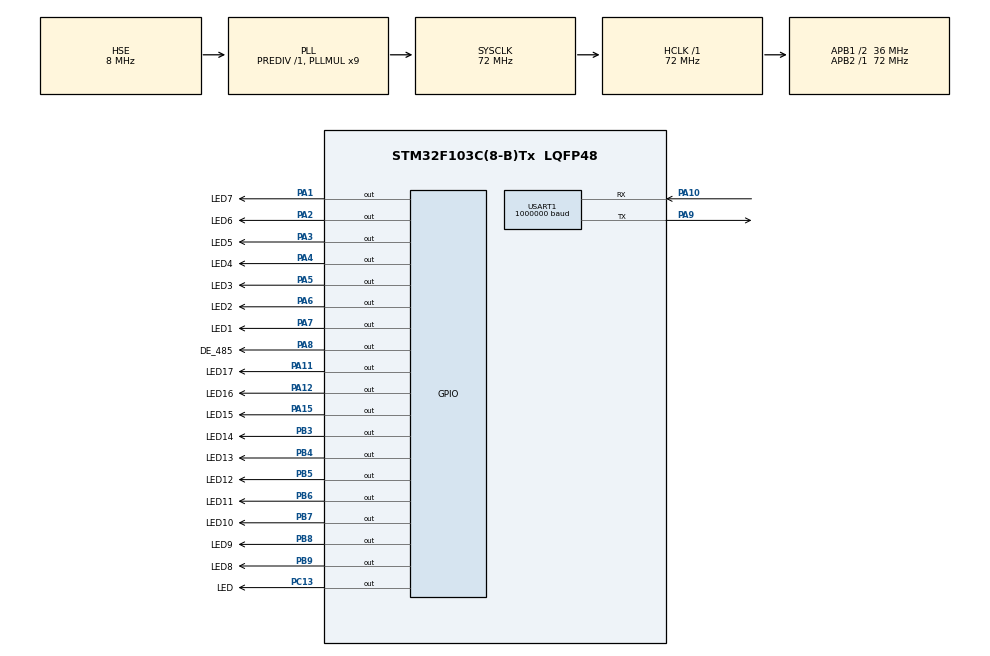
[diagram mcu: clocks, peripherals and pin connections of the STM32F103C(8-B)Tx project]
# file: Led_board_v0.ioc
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Dma.Request0=USART1_RX
Dma.Request1=USART1_TX
Dma.USART1_RX.0.Direction=DMA_PERIPH_TO_MEMORY
Dma.USART1_RX.0.Instance=DMA1_Channel5
Dma.USART1_RX.0.MemDataAlignment=DMA_MDATAALIGN_BYTE
Dma.USART1_RX.0.MemInc=DMA_MINC_ENABLE
Dma.USART1_RX.0.Mode=DMA_NORMAL
Dma.USART1_RX.0.PeriphDataAlignment=DMA_PDATAALIGN_BYTE
Dma.USART1_RX.0.PeriphInc=DMA_PINC_DISABLE
Dma.USART1_RX.0.Priority=DMA_PRIORITY_LOW
Dma.USART1_TX.1.Direction=DMA_MEMORY_TO_PERIPH
Dma.USART1_TX.1.Instance=DMA1_Channel4
Dma.USART1_TX.1.MemDataAlignment=DMA_MDATAALIGN_BYTE
Dma.USART1_TX.1.MemInc=DMA_MINC_ENABLE
Dma.USART1_TX.1.Mode=DMA_NORMAL
Dma.USART1_TX.1.PeriphDataAlignment=DMA_PDATAALIGN_BYTE
Dma.USART1_TX.1.PeriphInc=DMA_PINC_DISABLE
Dma.USART1_TX.1.Priority=DMA_PRIORITY_LOW
Mcu.Family=STM32F1
Mcu.Name=STM32F103C(8-B)Tx
Mcu.Package=LQFP48
NVIC.DMA1_Channel4_IRQn=true\:0\:0\:false\:false\:true\:false\:true\:true
NVIC.DMA1_Channel5_IRQn=true\:0\:0\:false\:false\:true\:false\:true\:true
NVIC.PriorityGroup=NVIC_PRIORITYGROUP_4
NVIC.TIM1_UP_IRQn=true\:1\:0\:true\:false\:true\:true\:true\:true
NVIC.TIM2_IRQn=true\:1\:0\:true\:false\:true\:true\:true\:true
NVIC.USART1_IRQn=true\:0\:0\:false\:false\:true\:true\:true\:true
PA1.GPIO_Label=LED7
PA1.Signal=GPIO_Output
PA10.Mode=Asynchronous
PA10.Signal=USART1_RX
PA11.GPIO_Label=LED17
PA11.Signal=GPIO_Output
PA12.GPIO_Label=LED16
PA12.Signal=GPIO_Output
PA13.Mode=Serial_Wire
PA13.Signal=SYS_JTMS-SWDIO
PA14.Mode=Serial_Wire
PA14.Signal=SYS_JTCK-SWCLK
PA15.GPIO_Label=LED15
PA15.Signal=GPIO_Output
PA2.GPIO_Label=LED6
PA2.Signal=GPIO_Output
PA3.GPIO_Label=LED5
PA3.Signal=GPIO_Output
PA4.GPIO_Label=LED4
PA4.Signal=GPIO_Output
PA5.GPIO_Label=LED3
PA5.Signal=GPIO_Output
PA6.GPIO_Label=LED2
PA6.Signal=GPIO_Output
PA7.GPIO_Label=LED1
PA7.Signal=GPIO_Output
PA8.GPIO_Label=DE_485
PA8.Signal=GPIO_Output
PA9.Mode=Asynchronous
PA9.Signal=USART1_TX
PB3.GPIO_Label=LED14
PB3.Signal=GPIO_Output
PB4.GPIO_Label=LED13
PB4.Signal=GPIO_Output
PB5.GPIO_Label=LED12
PB5.Signal=GPIO_Output
PB6.GPIO_Label=LED11
PB6.Signal=GPIO_Output
PB7.GPIO_Label=LED10
PB7.Signal=GPIO_Output
PB8.GPIO_Label=LED9
PB8.Signal=GPIO_Output
PB9.GPIO_Label=LED8
PB9.Signal=GPIO_Output
PC13-TAMPER-RTC.GPIO_Label=LED
PC13-TAMPER-RTC.Signal=GPIO_Output
PD0-OSC_IN.Mode=HSE-External-Oscillator
PD0-OSC_IN.Signal=RCC_OSC_IN
PD1-OSC_OUT.Mode=HSE-External-Oscillator
PD1-OSC_OUT.Signal=RCC_OSC_OUT
ProjectManager.HeapSize=0x200
ProjectManager.StackSize=0x400
ProjectManager.TargetToolchain=MDK-ARM V5.32
RCC.AHBFreq_Value=72000000
RCC.APB1CLKDivider=RCC_HCLK_DIV2
RCC.APB1Freq_Value=36000000
RCC.APB1TimFreq_Value=72000000
RCC.APB2Freq_Value=72000000
RCC.APB2TimFreq_Value=72000000
RCC.HCLKFreq_Value=72000000
RCC.PLLMUL=RCC_PLL_MUL9
RCC.PLLSourceVirtual=RCC_PLLSOURCE_HSE
RCC.SYSCLKFreq_VALUE=72000000
RCC.SYSCLKSource=RCC_SYSCLKSOURCE_PLLCLK
RCC.USBFreq_Value=72000000
TIM1.Prescaler=72-1
TIM2.Period=999
TIM2.Prescaler=72-1
USART1.BaudRate=1000000
USART1.VirtualMode=VM_ASYNC
VP_TIM1_VS_ClockSourceINT.Mode=Internal
VP_TIM2_VS_ClockSourceINT.Mode=Internal
board=custom

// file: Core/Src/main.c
/* USER CODE BEGIN Header */
/**
  ******************************************************************************
  * @file           : main.c
  * @brief          : Main program body
  ******************************************************************************
  * @attention
  *
  * Copyright (c) 2024 STMicroelectronics.
  * All rights reserved.
  *
  * This software is licensed under terms that can be found in the LICENSE file
  * in the root directory of this software component.
  * If no LICENSE file comes with this software, it is provided AS-IS.
  *
  ******************************************************************************
  */
/* USER CODE END Header */
#include "main.h"

/* USER CODE BEGIN Includes */
#include "scan_led.h"
#include "rs485.h"
#include "string.h"
#include "stdlib.h"
/* USER CODE END Includes */

TIM_HandleTypeDef htim1;
TIM_HandleTypeDef htim2;

UART_HandleTypeDef huart1;
DMA_HandleTypeDef hdma_usart1_rx;
DMA_HandleTypeDef hdma_usart1_tx;

/* USER CODE BEGIN PV */

	extern flag_irq_t vFlag;
	extern rs485_t vRS485;		// variable RS485

/* USER CODE END PV */

void SystemClock_Config(void);
static void MX_GPIO_Init(void);
static void MX_DMA_Init(void);
static void MX_USART1_UART_Init(void);
static void MX_TIM1_Init(void);
static void MX_TIM2_Init(void);

/* USER CODE BEGIN 0 */
	uint16_t i = 0;
	uint16_t k = 0;
	uint16_t sizesize = 0;

	void HAL_UART_RxCpltCallback(UART_HandleTypeDef *huart) {
		if(huart->Instance == USART1)
		{
			RS485_Read(&vRS485);
			HAL_UART_Receive_IT(&huart1, &vRS485.rxByte, 1);
		}
  }

		void HAL_TIM_PeriodElapsedCallback(TIM_HandleTypeDef *htim)
		{
			UNUSED(htim);

			if (htim->Instance == htim2.Instance){ 	// every 1ms
				HANDLE_MODE(&vFlag);

			}

		}

/* USER CODE END 0 */

int main(void)
 {

  /* MCU Configuration--------------------------------------------------------*/

  /* Reset of all peripherals, Initializes the Flash interface and the Systick. */
  HAL_Init();

  /* USER CODE BEGIN Init */
		FLAG_Init(&vFlag);
		RS485_Init(&vRS485, MACH_LED);

  /* USER CODE END Init */

  /* Configure the system clock */
  SystemClock_Config();

  /* Initialize all configured peripherals */
  MX_GPIO_Init();
  MX_DMA_Init();
  MX_USART1_UART_Init();
  MX_TIM1_Init();
  MX_TIM2_Init();
  /* USER CODE BEGIN 2 */

	Full_LED(off);

	//memset(rx_buffer, 0x00, LENGTH_RX);
	HAL_GPIO_WritePin(DE_485_GPIO_Port, DE_485_Pin, GPIO_PIN_RESET);

	HAL_TIM_Base_Start_IT(&htim1);
	HAL_TIM_Base_Start_IT(&htim2);

	HAL_UART_Receive_IT(&huart1, &vRS485.rxByte, 1);

  /* USER CODE END 2 */

  /* Infinite loop */
  while (1)
  {

    /* USER CODE BEGIN 3 */

		if(vRS485.RxFlag == 1){
			HAL_GPIO_WritePin(DE_485_GPIO_Port, DE_485_Pin, GPIO_PIN_SET);
			vRS485.RxFlag = 0;

			handle_dataRx(&vRS485, &vFlag);

			HAL_GPIO_WritePin(DE_485_GPIO_Port, DE_485_Pin, GPIO_PIN_RESET);
			vRS485.STATE = USART_WAIT;
		}

//		if(gui_main != 0){
//
//			HAL_GPIO_WritePin(DE_485_GPIO_Port, DE_485_Pin, GPIO_PIN_SET);
//			gui_main = 0;
 //
//			tx_buffer[0] = 0xFF;
//			tx_buffer[1] = 0xBB;
//			tx_buffer[15] = 0xEE;
//			for(uint8_t i = 2; i<15; i++){
//				tx_buffer[i] = rand() % 0xFF;
//			}
//
//			//HAL_Delay(1);

//			HAL_UART_Transmit(&huart1, tx_buffer, 16, HAL_MAX_DELAY);
//			HAL_GPIO_WritePin(DE_485_GPIO_Port, DE_485_Pin, GPIO_PIN_RESET);
//
//		}

//		HAL_GPIO_WritePin(DE_485_GPIO_Port, DE_485_Pin, GPIO_PIN_SET);
//		HAL_UART_Transmit(&huart1, (uint8_t*)"Hello", 5, HAL_MAX_DELAY);
//		HAL_Delay(1000);

  }
  /* USER CODE END 3 */
}

void SystemClock_Config(void)
{
  RCC_OscInitTypeDef RCC_OscInitStruct = {0};
  RCC_ClkInitTypeDef RCC_ClkInitStruct = {0};

  /** Initializes the RCC Oscillators according to the specified parameters
  * in the RCC_OscInitTypeDef structure.
  */
  RCC_OscInitStruct.OscillatorType = RCC_OSCILLATORTYPE_HSE;
  RCC_OscInitStruct.HSEState = RCC_HSE_ON;
  RCC_OscInitStruct.HSEPredivValue = RCC_HSE_PREDIV_DIV1;
  RCC_OscInitStruct.HSIState = RCC_HSI_ON;
  RCC_OscInitStruct.PLL.PLLState = RCC_PLL_ON;
  RCC_OscInitStruct.PLL.PLLSource = RCC_PLLSOURCE_HSE;
  RCC_OscInitStruct.PLL.PLLMUL = RCC_PLL_MUL9;
  if (HAL_RCC_OscConfig(&RCC_OscInitStruct) != HAL_OK)
  {
    Error_Handler();
  }

  /** Initializes the CPU, AHB and APB buses clocks
  */
  RCC_ClkInitStruct.ClockType = RCC_CLOCKTYPE_HCLK|RCC_CLOCKTYPE_SYSCLK
                              |RCC_CLOCKTYPE_PCLK1|RCC_CLOCKTYPE_PCLK2;
  RCC_ClkInitStruct.SYSCLKSource = RCC_SYSCLKSOURCE_PLLCLK;
  RCC_ClkInitStruct.AHBCLKDivider = RCC_SYSCLK_DIV1;
  RCC_ClkInitStruct.APB1CLKDivider = RCC_HCLK_DIV2;
  RCC_ClkInitStruct.APB2CLKDivider = RCC_HCLK_DIV1;

  if (HAL_RCC_ClockConfig(&RCC_ClkInitStruct, FLASH_LATENCY_2) != HAL_OK)
  {
    Error_Handler();
  }
}

static void MX_TIM1_Init(void)
{

  TIM_ClockConfigTypeDef sClockSourceConfig = {0};
  TIM_MasterConfigTypeDef sMasterConfig = {0};

  htim1.Instance = TIM1;
  htim1.Init.Prescaler = 72-1;
  htim1.Init.CounterMode = TIM_COUNTERMODE_UP;
  htim1.Init.Period = 65535;
  htim1.Init.ClockDivision = TIM_CLOCKDIVISION_DIV1;
  htim1.Init.RepetitionCounter = 0;
  htim1.Init.AutoReloadPreload = TIM_AUTORELOAD_PRELOAD_DISABLE;
  if (HAL_TIM_Base_Init(&htim1) != HAL_OK)
  {
    Error_Handler();
  }
  sClockSourceConfig.ClockSource = TIM_CLOCKSOURCE_INTERNAL;
  if (HAL_TIM_ConfigClockSource(&htim1, &sClockSourceConfig) != HAL_OK)
  {
    Error_Handler();
  }
  sMasterConfig.MasterOutputTrigger = TIM_TRGO_RESET;
  sMasterConfig.MasterSlaveMode = TIM_MASTERSLAVEMODE_DISABLE;
  if (HAL_TIMEx_MasterConfigSynchronization(&htim1, &sMasterConfig) != HAL_OK)
  {
    Error_Handler();
  }

}

static void MX_TIM2_Init(void)
{

  TIM_ClockConfigTypeDef sClockSourceConfig = {0};
  TIM_MasterConfigTypeDef sMasterConfig = {0};

  htim2.Instance = TIM2;
  htim2.Init.Prescaler = 72-1;
  htim2.Init.CounterMode = TIM_COUNTERMODE_UP;
  htim2.Init.Period = 999;
  htim2.Init.ClockDivision = TIM_CLOCKDIVISION_DIV1;
  htim2.Init.AutoReloadPreload = TIM_AUTORELOAD_PRELOAD_DISABLE;
  if (HAL_TIM_Base_Init(&htim2) != HAL_OK)
  {
    Error_Handler();
  }
  sClockSourceConfig.ClockSource = TIM_CLOCKSOURCE_INTERNAL;
  if (HAL_TIM_ConfigClockSource(&htim2, &sClockSourceConfig) != HAL_OK)
  {
    Error_Handler();
  }
  sMasterConfig.MasterOutputTrigger = TIM_TRGO_RESET;
  sMasterConfig.MasterSlaveMode = TIM_MASTERSLAVEMODE_DISABLE;
  if (HAL_TIMEx_MasterConfigSynchronization(&htim2, &sMasterConfig) != HAL_OK)
  {
    Error_Handler();
  }

}

static void MX_USART1_UART_Init(void)
{

  huart1.Instance = USART1;
  huart1.Init.BaudRate = 1000000; //1000000;
  huart1.Init.WordLength = UART_WORDLENGTH_8B;
  huart1.Init.StopBits = UART_STOPBITS_1;
  huart1.Init.Parity = UART_PARITY_NONE;
  huart1.Init.Mode = UART_MODE_TX_RX;
  huart1.Init.HwFlowCtl = UART_HWCONTROL_NONE;
  huart1.Init.OverSampling = UART_OVERSAMPLING_16;
  if (HAL_UART_Init(&huart1) != HAL_OK)
  {
    Error_Handler();
  }

}

static void MX_DMA_Init(void)
{

  /* DMA controller clock enable */
  __HAL_RCC_DMA1_CLK_ENABLE();

  /* DMA interrupt init */
  /* DMA1_Channel4_IRQn interrupt configuration */
  HAL_NVIC_SetPriority(DMA1_Channel4_IRQn, 0, 0);
  HAL_NVIC_EnableIRQ(DMA1_Channel4_IRQn);
  /* DMA1_Channel5_IRQn interrupt configuration */
  HAL_NVIC_SetPriority(DMA1_Channel5_IRQn, 0, 0);
  HAL_NVIC_EnableIRQ(DMA1_Channel5_IRQn);

}

static void MX_GPIO_Init(void)
{
  GPIO_InitTypeDef GPIO_InitStruct = {0};

  /* GPIO Ports Clock Enable */
  __HAL_RCC_GPIOC_CLK_ENABLE();
  __HAL_RCC_GPIOD_CLK_ENABLE();
  __HAL_RCC_GPIOA_CLK_ENABLE();
  __HAL_RCC_GPIOB_CLK_ENABLE();

  /*Configure GPIO pin Output Level */
  HAL_GPIO_WritePin(LED_GPIO_Port, LED_Pin, GPIO_PIN_RESET);

  /*Configure GPIO pin Output Level */
  HAL_GPIO_WritePin(GPIOA, LED7_Pin|LED6_Pin|LED5_Pin|LED4_Pin
                          |LED3_Pin|LED2_Pin|LED1_Pin|DE_485_Pin
                          |LED17_Pin|LED16_Pin|LED15_Pin, GPIO_PIN_RESET);

  /*Configure GPIO pin Output Level */
  HAL_GPIO_WritePin(GPIOB, LED14_Pin|LED13_Pin|LED12_Pin|LED11_Pin
                          |LED10_Pin|LED9_Pin|LED8_Pin, GPIO_PIN_RESET);

  /*Configure GPIO pin : LED_Pin */
  GPIO_InitStruct.Pin = LED_Pin;
  GPIO_InitStruct.Mode = GPIO_MODE_OUTPUT_PP;
  GPIO_InitStruct.Pull = GPIO_NOPULL;
  GPIO_InitStruct.Speed = GPIO_SPEED_FREQ_LOW;
  HAL_GPIO_Init(LED_GPIO_Port, &GPIO_InitStruct);

  /*Configure GPIO pins : LED7_Pin LED6_Pin LED5_Pin LED4_Pin
                           LED3_Pin LED2_Pin LED1_Pin DE_485_Pin
                           LED17_Pin LED16_Pin LED15_Pin */
  GPIO_InitStruct.Pin = LED7_Pin|LED6_Pin|LED5_Pin|LED4_Pin
                          |LED3_Pin|LED2_Pin|LED1_Pin|DE_485_Pin
                          |LED17_Pin|LED16_Pin|LED15_Pin;
  GPIO_InitStruct.Mode = GPIO_MODE_OUTPUT_PP;
  GPIO_InitStruct.Pull = GPIO_NOPULL;
  GPIO_InitStruct.Speed = GPIO_SPEED_FREQ_LOW;
  HAL_GPIO_Init(GPIOA, &GPIO_InitStruct);

  /*Configure GPIO pins : LED14_Pin LED13_Pin LED12_Pin LED11_Pin
                           LED10_Pin LED9_Pin LED8_Pin */
  GPIO_InitStruct.Pin = LED14_Pin|LED13_Pin|LED12_Pin|LED11_Pin
                          |LED10_Pin|LED9_Pin|LED8_Pin;
  GPIO_InitStruct.Mode = GPIO_MODE_OUTPUT_PP;
  GPIO_InitStruct.Pull = GPIO_NOPULL;
  GPIO_InitStruct.Speed = GPIO_SPEED_FREQ_LOW;
  HAL_GPIO_Init(GPIOB, &GPIO_InitStruct);

}

void Error_Handler(void)
{
  __disable_irq();
  while (1)
  {
  }
}
